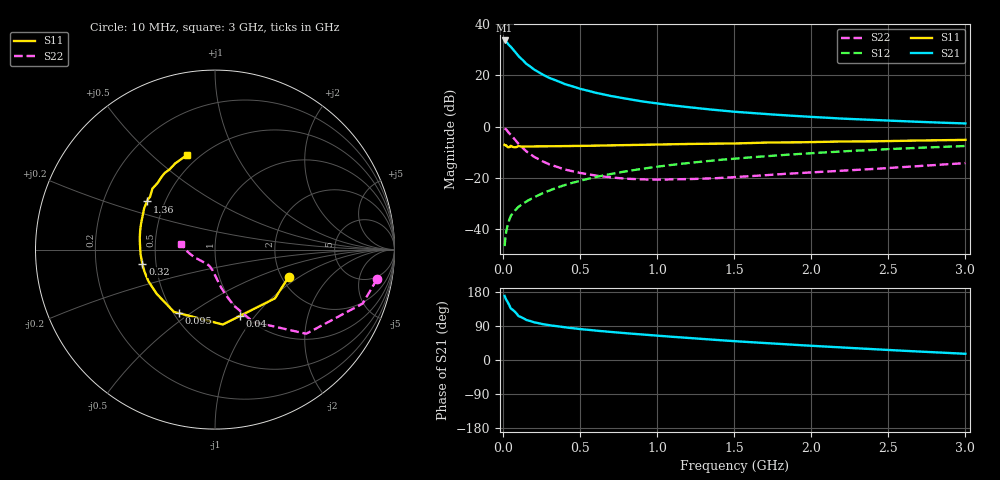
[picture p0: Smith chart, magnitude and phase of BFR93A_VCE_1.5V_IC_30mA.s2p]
! Infineon Technologies  Discrete & RF Semiconductors
! BFR93A
! VCE =  1.5 V,  IC =  30 mA
! Common Emitter S-Parameters:  Nov 2015
# GHz  S  MA  R  50
!  f  S11  S21  S12  S22
! GHz  MAG  ANG  MAG  ANG  MAG  ANG  MAG  ANG
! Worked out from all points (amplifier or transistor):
!   180 points, 10 MHz to 3 GHz, reference 50 ohm
!   highest |S21| = 33.6 dB at 10 MHz (marker M1)
!   |S21| within 3 dB of that: start of sweep to 57.77 MHz
!   unconditionally stable (mu >= 1): 295.8 MHz to end of sweep
!   at 160 MHz: K = 0.82, MSG = 26.6 dB, |S12| = -29.0 dB
!   at 1.22 GHz: K = 1.09, MAG = 9.0 dB, |S12| = -14.1 dB
!   at 3 GHz: K = 1.02, MAG = 3.6 dB, |S12| = -7.6 dB
!   S11 on the Smith chart (normalised r, x): 10 MHz: 2.19, -0.82; 40 MHz: 0.96, -0.84; 95 MHz: 0.53, -0.45; 320 MHz: 0.42, -0.08; 1.36 GHz: 0.40, +0.27; 3 GHz: 0.43, +0.66
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0.01  0.438 -20.2  48.08 169.1  0.0046 81.6  0.9175 -10.3
0.02  0.4305 -39.2  45.85 159.2  0.0088 75.7  0.8761 -20.1
0.04  0.3947 -69.2  38.65 145.0  0.0149 66.9  0.7391 -34.0
0.05  0.4197 -84.1  36.19 136.0  0.018 64.7  0.6914 -42.7
0.095  0.4073 -119.7  24.74 118.8  0.0261 60.6  0.4746 -59.4
0.1  0.4155 -123.4  23.68 115.9  0.027 60.3  0.4543 -62.2
0.15  0.4079 -143.0  16.93 105.7  0.0341 61.9  0.329 -71.4
0.2  0.4106 -154.7  13.07 99.6  0.0414 64.2  0.2574 -76.9
0.24  0.411 -160.6  11.09 96.1  0.0472 65.5  0.2218 -80.0
0.3  0.4123 -167.2  8.917 91.6  0.0561 67.3  0.1825 -84.0
0.32  0.4121 -169.0  8.481 90.7  0.0592 67.6  0.1748 -84.9
0.4  0.4157 -176.3  6.762 86.1  0.0718 68.7  0.1447 -89.6
0.52  0.4194 175.9  5.285 80.9  0.0903 68.9  0.1211 -94.9
0.6  0.4237 171.8  4.581 77.6  0.1029 68.7  0.1098 -99.2
0.7  0.4286 167.3  3.947 73.9  0.1185 67.9  0.1015 -104.2
0.84  0.435 161.8  3.328 69.3  0.1399 66.6  0.0944 -112.0
1.02  0.4442 155.4  2.771 63.6  0.1672 64.3  0.092 -121.5
1.36  0.4641 144.7  2.133 53.6  0.2164 59.8  0.0974 -138.8
1.52  0.4683 140.3  1.928 49.2  0.2385 57.6  0.1037 -146.5
2.02  0.4985 127.7  1.533 37.1  0.304 50.5  0.1274 -163.0
2.52  0.5224 116.6  1.301 26.1  0.3645 43.0  0.156 -176.8
3  0.5498 106.3  1.149 16.4  0.4168 35.7  0.1932 170.2
